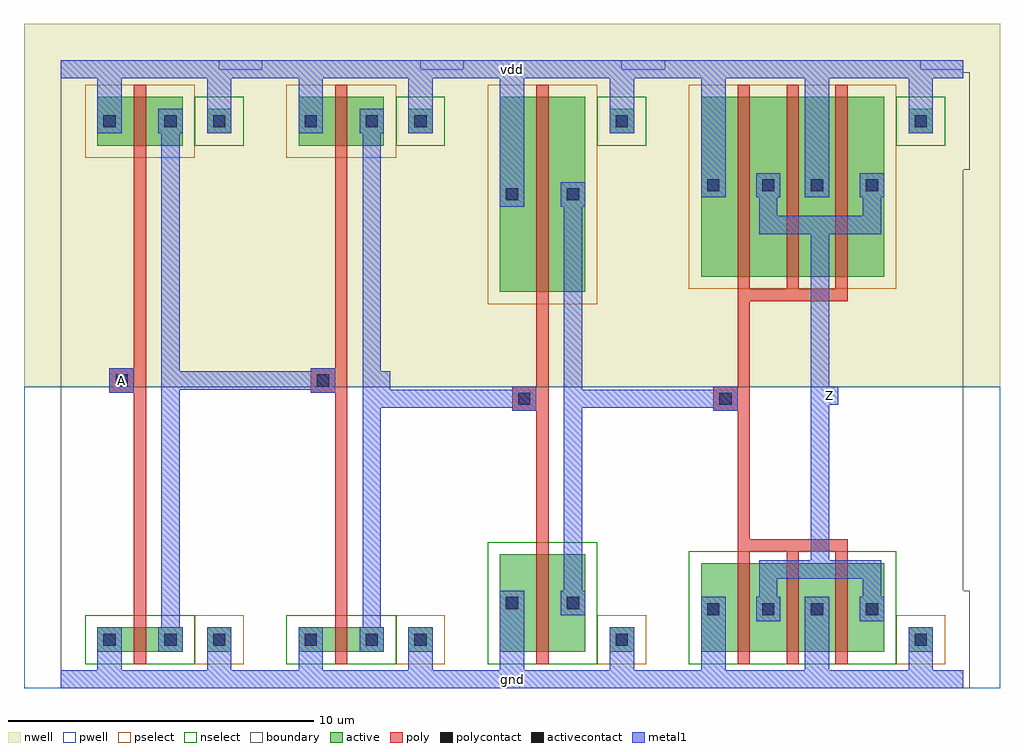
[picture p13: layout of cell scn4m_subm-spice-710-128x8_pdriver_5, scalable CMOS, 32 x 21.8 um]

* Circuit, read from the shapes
.subckt scn4m_subm-spice-710-128x8_pdriver_5 A Z gnd vdd
M1 scn4m_subm-spice-710-128x8_pinv_1_1/A A gnd gnd nfet w=0.8u l=0.4u
M2 scn4m_subm-spice-710-128x8_pinv_8_2/A scn4m_subm-spice-710-128x8_pinv_1_1/A gnd gnd nfet w=0.8u l=0.4u
M3 scn4m_subm-spice-710-128x8_pinv_9_3/A scn4m_subm-spice-710-128x8_pinv_8_2/A gnd gnd nfet w=3.2u l=0.4u
M4 Z scn4m_subm-spice-710-128x8_pinv_9_3/A gnd gnd nfet w=2.9u l=0.4u m=3
M5 scn4m_subm-spice-710-128x8_pinv_1_1/A A vdd vdd pfet w=1.6u l=0.4u
M6 scn4m_subm-spice-710-128x8_pinv_8_2/A scn4m_subm-spice-710-128x8_pinv_1_1/A vdd vdd pfet w=1.6u l=0.4u
M7 scn4m_subm-spice-710-128x8_pinv_9_3/A scn4m_subm-spice-710-128x8_pinv_8_2/A vdd vdd pfet w=6.4u l=0.4u
M8 Z scn4m_subm-spice-710-128x8_pinv_9_3/A vdd vdd pfet w=5.9u l=0.4u m=3
.ends

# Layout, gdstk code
import gdstk
lib = gdstk.Library(unit=1e-6, precision=1e-09)
def R(c, l, rs):  # rectangles x0, y0, x1, y1
    for r in rs: c.add(gdstk.rectangle(r[:2], r[2:], *l))
def A(c, l, x, y, w, h, nx, ny, dx, dy):  # array of equal rectangles
    R(c, l, [(x+i*dx, y+j*dy, x+i*dx+w, y+j*dy+h) for i in range(nx) for j in range(ny)])
pwell = (41, 0)
nwell = (42, 0)
active = (43, 0)
pselect = (44, 0)
nselect = (45, 0)
poly = (46, 0)
polycontact = (47, 0)
activecontact = (48, 0)
metal1 = (49, 0)
boundary = (63, 0)

scn4m_subm_spice_710_128 = lib.new_cell('scn4m_subm-spice-710-128x8_contact_12')
R(scn4m_subm_spice_710_128, nwell, [(-1.2,-1.2,2,2)])
R(scn4m_subm_spice_710_128, active, [(0,0,0.8,0.8)])
R(scn4m_subm_spice_710_128, pselect, [(-0.4,-0.4,1.2,1.2)])
R(scn4m_subm_spice_710_128, activecontact, [(0.2,0.2,0.6,0.6)])
R(scn4m_subm_spice_710_128, metal1, [(0,0,0.8,0.8)])
R(scn4m_subm_spice_710_128, boundary, [(-1.2,-1.2,2,2)])

c_scn4m_subm_spice_710_128 = lib.new_cell('scn4m_subm-spice-710-128x8_pmos_m1_w1_600_sm1_dm1_da_p')
R(c_scn4m_subm_spice_710_128, nwell, [(-1.2,-1.2,4,2.8)])
R(c_scn4m_subm_spice_710_128, active, [(0,0,2.8,1.6)])
R(c_scn4m_subm_spice_710_128, pselect, [(-0.4,-0.4,3.2,2)])
R(c_scn4m_subm_spice_710_128, poly, [(1.2,-0.4,1.6,2), (1.2,-0.4,1.6,2)])
R(c_scn4m_subm_spice_710_128, metal1, [(0,0.4,0.8,1.2), (2,0.4,2.8,1.2)])
R(c_scn4m_subm_spice_710_128, boundary, [(-1.2,-1.2,4,2.8)])
c_scn4m_subm_spice_710_128.add(gdstk.Reference(scn4m_subm_spice_710_128, (0,0.4)))
c_scn4m_subm_spice_710_128.add(gdstk.Reference(scn4m_subm_spice_710_128, (2,0.4)))
c_scn4m_subm_spice_710_128.add(gdstk.Label('G', (1.4,0.8), layer=46, texttype=0))
c_scn4m_subm_spice_710_128.add(gdstk.Label('S', (0.4,0.8), layer=49, texttype=0))
c_scn4m_subm_spice_710_128.add(gdstk.Label('D', (2.4,0.8), layer=49, texttype=0))

c_scn4m_subm_spice_710_128_ = lib.new_cell('scn4m_subm-spice-710-128x8_contact_11')
R(c_scn4m_subm_spice_710_128_, pwell, [(-1.2,-1.2,2,2)])
R(c_scn4m_subm_spice_710_128_, active, [(0,0,0.8,0.8)])
R(c_scn4m_subm_spice_710_128_, nselect, [(-0.4,-0.4,1.2,1.2)])
R(c_scn4m_subm_spice_710_128_, activecontact, [(0.2,0.2,0.6,0.6)])
R(c_scn4m_subm_spice_710_128_, metal1, [(0,0,0.8,0.8)])
R(c_scn4m_subm_spice_710_128_, boundary, [(-1.2,-1.2,2,2)])

c_scn4m_subm_spice_710_128__ = lib.new_cell('scn4m_subm-spice-710-128x8_nmos_m1_w0_800_sm1_dm1_da_p')
R(c_scn4m_subm_spice_710_128__, pwell, [(-1.2,-1.2,4,2)])
R(c_scn4m_subm_spice_710_128__, active, [(0,0,2.8,0.8)])
R(c_scn4m_subm_spice_710_128__, nselect, [(-0.4,-0.4,3.2,1.2)])
R(c_scn4m_subm_spice_710_128__, poly, [(1.2,-0.4,1.6,1.2), (1.2,-0.4,1.6,1.2)])
R(c_scn4m_subm_spice_710_128__, metal1, [(0,0,0.8,0.8), (2,0,2.8,0.8)])
R(c_scn4m_subm_spice_710_128__, boundary, [(-1.2,-1.2,4,2)])
c_scn4m_subm_spice_710_128__.add(gdstk.Reference(c_scn4m_subm_spice_710_128_, (0,0)))
c_scn4m_subm_spice_710_128__.add(gdstk.Reference(c_scn4m_subm_spice_710_128_, (2,0)))
c_scn4m_subm_spice_710_128__.add(gdstk.Label('G', (1.4,0.4), layer=46, texttype=0))
c_scn4m_subm_spice_710_128__.add(gdstk.Label('S', (0.4,0.4), layer=49, texttype=0))
c_scn4m_subm_spice_710_128__.add(gdstk.Label('D', (2.4,0.4), layer=49, texttype=0))

c_scn4m_subm_spice_710_128___ = lib.new_cell('scn4m_subm-spice-710-128x8_contact_13')
R(c_scn4m_subm_spice_710_128___, nwell, [(-1.2,-1.2,2,2)])
R(c_scn4m_subm_spice_710_128___, active, [(0,0,0.8,0.8)])
R(c_scn4m_subm_spice_710_128___, nselect, [(-0.4,-0.4,1.2,1.2)])
R(c_scn4m_subm_spice_710_128___, activecontact, [(0.2,0.2,0.6,0.6)])
R(c_scn4m_subm_spice_710_128___, metal1, [(0,0,0.8,0.8)])
R(c_scn4m_subm_spice_710_128___, boundary, [(-1.2,-1.2,2,2)])

c_scn4m_subm_spice_710_128____ = lib.new_cell('scn4m_subm-spice-710-128x8_contact_14')
R(c_scn4m_subm_spice_710_128____, pwell, [(-1.2,-1.2,2,2)])
R(c_scn4m_subm_spice_710_128____, active, [(0,0,0.8,0.8)])
R(c_scn4m_subm_spice_710_128____, pselect, [(-0.4,-0.4,1.2,1.2)])
R(c_scn4m_subm_spice_710_128____, activecontact, [(0.2,0.2,0.6,0.6)])
R(c_scn4m_subm_spice_710_128____, metal1, [(0,0,0.8,0.8)])
R(c_scn4m_subm_spice_710_128____, boundary, [(-1.2,-1.2,2,2)])

c_scn4m_subm_spice_710_128_____ = lib.new_cell('scn4m_subm-spice-710-128x8_contact_15')
R(c_scn4m_subm_spice_710_128_____, poly, [(0,0,0.8,0.8)])
R(c_scn4m_subm_spice_710_128_____, polycontact, [(0.2,0.2,0.6,0.6)])
R(c_scn4m_subm_spice_710_128_____, metal1, [(0,0,0.8,0.8)])
R(c_scn4m_subm_spice_710_128_____, boundary, [(0,0,0.8,0.8)])

c_scn4m_subm_spice_710_128______ = lib.new_cell('scn4m_subm-spice-710-128x8_pinv_1')
R(c_scn4m_subm_spice_710_128______, pwell, [(-1.2,-0.3,7.8,9.6)])
R(c_scn4m_subm_spice_710_128______, nwell, [(-1.2,9.6,7.8,21.5)])
R(c_scn4m_subm_spice_710_128______, poly, [(2.4,2.1,2.8,17.1), (2,9.4,2.4,10.2)])
R(c_scn4m_subm_spice_710_128______, metal1, [(0,-0.3,6.6,0.3), (1.2,-0.3,2,0.9), (4.8,0,5.6,1.3), (3.3,0.9,3.9,18.7), (1.6,9.4,2.4,10.2), (3.6,9.5,4.2,10.1), (1.2,17.9,2,20.3), (4.8,18.3,5.6,20), (0,19.7,6.6,20.3)])
R(c_scn4m_subm_spice_710_128______, boundary, [(0,0,6.6,20), (0,0,6.6,20)])
c_scn4m_subm_spice_710_128______.add(gdstk.Reference(c_scn4m_subm_spice_710_128, (1.2,17.5)))
c_scn4m_subm_spice_710_128______.add(gdstk.Reference(c_scn4m_subm_spice_710_128__, (1.2,0.9)))
c_scn4m_subm_spice_710_128______.add(gdstk.Reference(c_scn4m_subm_spice_710_128___, (4.8,17.9)))
c_scn4m_subm_spice_710_128______.add(gdstk.Reference(c_scn4m_subm_spice_710_128____, (4.8,0.9)))
c_scn4m_subm_spice_710_128______.add(gdstk.Reference(c_scn4m_subm_spice_710_128_____, (1.6,9.4)))
c_scn4m_subm_spice_710_128______.add(gdstk.Label('A', (2,9.8), layer=49, texttype=0))
c_scn4m_subm_spice_710_128______.add(gdstk.Label('Z', (3.9,9.8), layer=49, texttype=0))
c_scn4m_subm_spice_710_128______.add(gdstk.Label('gnd', (3.3,0), layer=49, texttype=0))
c_scn4m_subm_spice_710_128______.add(gdstk.Label('vdd', (3.3,20), layer=49, texttype=0))

c_scn4m_subm_spice_710_128_______ = lib.new_cell('scn4m_subm-spice-710-128x8_pmos_m1_w6_400_sm1_dm1_da_p')
R(c_scn4m_subm_spice_710_128_______, nwell, [(-1.2,-1.2,4,7.6)])
R(c_scn4m_subm_spice_710_128_______, active, [(0,0,2.8,6.4)])
R(c_scn4m_subm_spice_710_128_______, pselect, [(-0.4,-0.4,3.2,6.8)])
R(c_scn4m_subm_spice_710_128_______, poly, [(1.2,-0.4,1.6,6.8), (1.2,-0.4,1.6,6.8)])
R(c_scn4m_subm_spice_710_128_______, metal1, [(0,2.8,0.8,3.6), (2,2.8,2.8,3.6)])
R(c_scn4m_subm_spice_710_128_______, boundary, [(-1.2,-1.2,4,7.6)])
c_scn4m_subm_spice_710_128_______.add(gdstk.Reference(scn4m_subm_spice_710_128, (0,2.8)))
c_scn4m_subm_spice_710_128_______.add(gdstk.Reference(scn4m_subm_spice_710_128, (2,2.8)))
c_scn4m_subm_spice_710_128_______.add(gdstk.Label('G', (1.4,3.2), layer=46, texttype=0))
c_scn4m_subm_spice_710_128_______.add(gdstk.Label('S', (0.4,3.2), layer=49, texttype=0))
c_scn4m_subm_spice_710_128_______.add(gdstk.Label('D', (2.4,3.2), layer=49, texttype=0))

c_scn4m_subm_spice_710_128________ = lib.new_cell('scn4m_subm-spice-710-128x8_nmos_m1_w3_200_sm1_dm1_da_p')
R(c_scn4m_subm_spice_710_128________, pwell, [(-1.2,-1.2,4,4.4)])
R(c_scn4m_subm_spice_710_128________, active, [(0,0,2.8,3.2)])
R(c_scn4m_subm_spice_710_128________, nselect, [(-0.4,-0.4,3.2,3.6)])
R(c_scn4m_subm_spice_710_128________, poly, [(1.2,-0.4,1.6,3.6), (1.2,-0.4,1.6,3.6)])
R(c_scn4m_subm_spice_710_128________, metal1, [(0,1.2,0.8,2), (2,1.2,2.8,2)])
R(c_scn4m_subm_spice_710_128________, boundary, [(-1.2,-1.2,4,4.4)])
c_scn4m_subm_spice_710_128________.add(gdstk.Reference(c_scn4m_subm_spice_710_128_, (0,1.2)))
c_scn4m_subm_spice_710_128________.add(gdstk.Reference(c_scn4m_subm_spice_710_128_, (2,1.2)))
c_scn4m_subm_spice_710_128________.add(gdstk.Label('G', (1.4,1.6), layer=46, texttype=0))
c_scn4m_subm_spice_710_128________.add(gdstk.Label('S', (0.4,1.6), layer=49, texttype=0))
c_scn4m_subm_spice_710_128________.add(gdstk.Label('D', (2.4,1.6), layer=49, texttype=0))

c_scn4m_subm_spice_710_128_________ = lib.new_cell('scn4m_subm-spice-710-128x8_pinv_8')
R(c_scn4m_subm_spice_710_128_________, pwell, [(-1.2,-0.3,7.8,9.6)])
R(c_scn4m_subm_spice_710_128_________, nwell, [(-1.2,9.6,7.8,21.5)])
R(c_scn4m_subm_spice_710_128_________, poly, [(2.4,4.5,2.8,12.3), (2,8.8,2.4,9.6)])
R(c_scn4m_subm_spice_710_128_________, metal1, [(0,-0.3,6.6,0.3), (1.2,-0.3,2,2.1), (4.8,0,5.6,1.3), (3.3,2.1,3.9,16.3), (1.6,8.8,2.4,9.6), (3.6,8.9,4.2,9.5), (1.2,15.5,2,20.3), (4.8,18.3,5.6,20), (0,19.7,6.6,20.3)])
R(c_scn4m_subm_spice_710_128_________, boundary, [(0,0,6.6,20), (0,0,6.6,20)])
c_scn4m_subm_spice_710_128_________.add(gdstk.Reference(c_scn4m_subm_spice_710_128_______, (1.2,12.7)))
c_scn4m_subm_spice_710_128_________.add(gdstk.Reference(c_scn4m_subm_spice_710_128________, (1.2,0.9)))
c_scn4m_subm_spice_710_128_________.add(gdstk.Reference(c_scn4m_subm_spice_710_128___, (4.8,17.9)))
c_scn4m_subm_spice_710_128_________.add(gdstk.Reference(c_scn4m_subm_spice_710_128____, (4.8,0.9)))
c_scn4m_subm_spice_710_128_________.add(gdstk.Reference(c_scn4m_subm_spice_710_128_____, (1.6,8.8)))
c_scn4m_subm_spice_710_128_________.add(gdstk.Label('A', (2,9.2), layer=49, texttype=0))
c_scn4m_subm_spice_710_128_________.add(gdstk.Label('Z', (3.9,9.2), layer=49, texttype=0))
c_scn4m_subm_spice_710_128_________.add(gdstk.Label('gnd', (3.3,0), layer=49, texttype=0))
c_scn4m_subm_spice_710_128_________.add(gdstk.Label('vdd', (3.3,20), layer=49, texttype=0))

c_scn4m_subm_spice_710_128__________ = lib.new_cell('scn4m_subm-spice-710-128x8_pmos_m3_w5_900_sm1_dm1_da_p')
R(c_scn4m_subm_spice_710_128__________, nwell, [(-1.2,-1.2,7.2,7.1)])
R(c_scn4m_subm_spice_710_128__________, active, [(0,0,6,5.9)])
R(c_scn4m_subm_spice_710_128__________, pselect, [(-0.4,-0.4,6.4,6.3)])
A(c_scn4m_subm_spice_710_128__________, poly, 1.2, -0.4, 0.4, 6.7, 3, 1, 1.6, 0)
R(c_scn4m_subm_spice_710_128__________, poly, [(1.2,-0.8,4.8,-0.4)])
R(c_scn4m_subm_spice_710_128__________, metal1, [(1.9,1.4,5.9,2), (1.9,1.6,2.5,3), (5.3,1.6,5.9,3), (0,2.6,0.8,3.4), (3.4,2.6,4.2,3.4)])
R(c_scn4m_subm_spice_710_128__________, boundary, [(-1.2,-1.2,7.2,7.1)])
c_scn4m_subm_spice_710_128__________.add(gdstk.Reference(scn4m_subm_spice_710_128, (0,2.6)))
c_scn4m_subm_spice_710_128__________.add(gdstk.Reference(scn4m_subm_spice_710_128, (1.8,2.6)))
c_scn4m_subm_spice_710_128__________.add(gdstk.Reference(scn4m_subm_spice_710_128, (3.4,2.6)))
c_scn4m_subm_spice_710_128__________.add(gdstk.Reference(scn4m_subm_spice_710_128, (5.2,2.6)))
c_scn4m_subm_spice_710_128__________.add(gdstk.Label('G', (3,-0.6), layer=46, texttype=0))
c_scn4m_subm_spice_710_128__________.add(gdstk.Label('S', (0.4,3), layer=49, texttype=0))
c_scn4m_subm_spice_710_128__________.add(gdstk.Label('S', (3.8,3), layer=49, texttype=0))
c_scn4m_subm_spice_710_128__________.add(gdstk.Label('D', (3.9,1.7), layer=49, texttype=0))

c_scn4m_subm_spice_710_128___________ = lib.new_cell('scn4m_subm-spice-710-128x8_nmos_m3_w2_900_sm1_dm1_da_p')
R(c_scn4m_subm_spice_710_128___________, pwell, [(-1.2,-1.2,7.2,4.1)])
R(c_scn4m_subm_spice_710_128___________, active, [(0,0,6,2.9)])
R(c_scn4m_subm_spice_710_128___________, nselect, [(-0.4,-0.4,6.4,3.3)])
A(c_scn4m_subm_spice_710_128___________, poly, 1.2, -0.4, 0.4, 3.7, 3, 1, 1.6, 0)
R(c_scn4m_subm_spice_710_128___________, poly, [(1.2,3.3,4.8,3.7)])
R(c_scn4m_subm_spice_710_128___________, metal1, [(0,1,0.8,1.8), (3.4,1,4.2,1.8), (1.9,1.4,2.5,2.8), (5.3,1.4,5.9,2.8), (1.9,2.4,5.9,3)])
R(c_scn4m_subm_spice_710_128___________, boundary, [(-1.2,-1.2,7.2,4.1)])
c_scn4m_subm_spice_710_128___________.add(gdstk.Reference(c_scn4m_subm_spice_710_128_, (0,1)))
c_scn4m_subm_spice_710_128___________.add(gdstk.Reference(c_scn4m_subm_spice_710_128_, (1.8,1)))
c_scn4m_subm_spice_710_128___________.add(gdstk.Reference(c_scn4m_subm_spice_710_128_, (3.4,1)))
c_scn4m_subm_spice_710_128___________.add(gdstk.Reference(c_scn4m_subm_spice_710_128_, (5.2,1)))
c_scn4m_subm_spice_710_128___________.add(gdstk.Label('G', (3,3.5), layer=46, texttype=0))
c_scn4m_subm_spice_710_128___________.add(gdstk.Label('S', (0.4,1.4), layer=49, texttype=0))
c_scn4m_subm_spice_710_128___________.add(gdstk.Label('S', (3.8,1.4), layer=49, texttype=0))
c_scn4m_subm_spice_710_128___________.add(gdstk.Label('D', (3.9,2.7), layer=49, texttype=0))

c_scn4m_subm_spice_710_128____________ = lib.new_cell('scn4m_subm-spice-710-128x8_pinv_9')
R(c_scn4m_subm_spice_710_128____________, pwell, [(-1.2,-0.3,11,9.6)])
R(c_scn4m_subm_spice_710_128____________, nwell, [(-1.2,9.6,11,21.5)])
R(c_scn4m_subm_spice_710_128____________, poly, [(2.4,4.6,2.8,12.4), (2,8.8,2.4,9.6)])
R(c_scn4m_subm_spice_710_128____________, metal1, [(0,-0.3,9.8,0.3), (1.2,-0.3,2,1.9), (4.6,-0.3,5.4,1.9), (8,0,8.8,1.3), (4.8,3.3,5.4,15.2), (1.6,8.8,2.4,9.6), (5.1,9,5.7,9.6), (1.2,15.8,2,20.3), (4.6,15.8,5.4,20.3), (8,18.3,8.8,20), (0,19.7,9.8,20.3)])
R(c_scn4m_subm_spice_710_128____________, boundary, [(0,0,9.8,20), (0,0,9.8,20)])
c_scn4m_subm_spice_710_128____________.add(gdstk.Reference(c_scn4m_subm_spice_710_128__________, (1.2,13.2)))
c_scn4m_subm_spice_710_128____________.add(gdstk.Reference(c_scn4m_subm_spice_710_128___________, (1.2,0.9)))
c_scn4m_subm_spice_710_128____________.add(gdstk.Reference(c_scn4m_subm_spice_710_128___, (8,17.9)))
c_scn4m_subm_spice_710_128____________.add(gdstk.Reference(c_scn4m_subm_spice_710_128____, (8,0.9)))
c_scn4m_subm_spice_710_128____________.add(gdstk.Reference(c_scn4m_subm_spice_710_128_____, (1.6,8.8)))
c_scn4m_subm_spice_710_128____________.add(gdstk.Label('A', (2,9.2), layer=49, texttype=0))
c_scn4m_subm_spice_710_128____________.add(gdstk.Label('Z', (5.4,9.3), layer=49, texttype=0))
c_scn4m_subm_spice_710_128____________.add(gdstk.Label('gnd', (4.9,0), layer=49, texttype=0))
c_scn4m_subm_spice_710_128____________.add(gdstk.Label('vdd', (4.9,20), layer=49, texttype=0))

c_scn4m_subm_spice_710_128_____________ = lib.new_cell('scn4m_subm-spice-710-128x8_pdriver_5')
R(c_scn4m_subm_spice_710_128_____________, pwell, [(-1.2,-0.3,30.8,9.6)])
R(c_scn4m_subm_spice_710_128_____________, nwell, [(-1.2,9.6,30.8,21.5)])
R(c_scn4m_subm_spice_710_128_____________, metal1, [(0,-0.3,29.6,0.3), (10.2,8.9,10.8,9.5), (10.5,8.9,15.2,9.5), (17.1,8.9,21.8,9.5), (24.9,9,25.5,9.6), (10.2,9.2,10.8,9.8), (1.6,9.4,2.4,10.2), (3.9,9.5,8.6,10.1), (0,19.7,29.6,20.3)])
R(c_scn4m_subm_spice_710_128_____________, boundary, [(0,0,29.6,20), (0,0,29.6,20)])
c_scn4m_subm_spice_710_128_____________.add(gdstk.Reference(c_scn4m_subm_spice_710_128______, (0,0)))
c_scn4m_subm_spice_710_128_____________.add(gdstk.Reference(c_scn4m_subm_spice_710_128______, (6.6,0)))
c_scn4m_subm_spice_710_128_____________.add(gdstk.Reference(c_scn4m_subm_spice_710_128_________, (13.2,0)))
c_scn4m_subm_spice_710_128_____________.add(gdstk.Reference(c_scn4m_subm_spice_710_128____________, (19.8,0)))
c_scn4m_subm_spice_710_128_____________.add(gdstk.Label('Z', (25.2,9.3), layer=49, texttype=0))
c_scn4m_subm_spice_710_128_____________.add(gdstk.Label('A', (2,9.8), layer=49, texttype=0))
c_scn4m_subm_spice_710_128_____________.add(gdstk.Label('gnd', (14.8,0), layer=49, texttype=0))
c_scn4m_subm_spice_710_128_____________.add(gdstk.Label('vdd', (14.8,20), layer=49, texttype=0))

lib.write_gds('scn4m_subm-spice-710-128x8_pdriver_5.gds')
